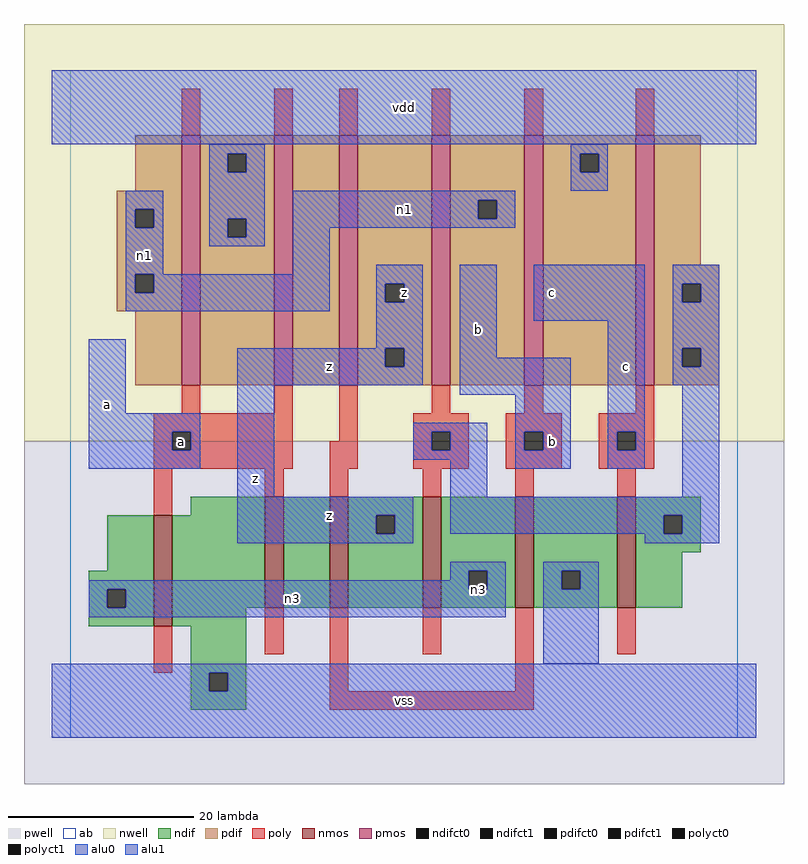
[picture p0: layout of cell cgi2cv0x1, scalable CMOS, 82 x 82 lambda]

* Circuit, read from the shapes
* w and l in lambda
.subckt cgi2cv0x1 a b c n1 n3 vdd vss z
M1 vss a n3 VSUBS nfet w=12 l=2
M2 n2 a vss VSUBS nfet w=12 l=2
M3 z b n2 VSUBS nfet w=12 l=2
M4 n3 n4 z VSUBS nfet w=12 l=2
M5 vss b n3 VSUBS nfet w=12 l=2
M6 n4 c vss VSUBS nfet w=12 l=2
M7 vdd a n1 n5 pfet w=27 l=2
M8 n6 a vdd n5 pfet w=27 l=2
M9 z b n6 n5 pfet w=27 l=2
M10 n1 n4 z n5 pfet w=27 l=2
M11 vdd b n1 n5 pfet w=27 l=2
M12 n4 c vdd n5 pfet w=27 l=2
.ends

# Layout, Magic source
magic
tech scmos
<< ab >>
rect 0 0 72 72
<< nwell >>
rect -5 32 77 77
<< pwell >>
rect -5 -5 77 32
<< poly >>
rect 12 65 14 70
rect 22 65 24 70
rect 29 65 31 70
rect 39 65 41 70
rect 49 65 51 70
rect 61 65 63 70
rect 12 35 14 38
rect 22 35 24 38
rect 9 33 24 35
rect 9 31 11 33
rect 13 31 24 33
rect 29 32 31 38
rect 39 35 41 38
rect 49 35 51 38
rect 61 35 63 38
rect 9 29 24 31
rect 28 29 31 32
rect 37 33 43 35
rect 37 31 39 33
rect 41 31 43 33
rect 37 29 43 31
rect 47 33 53 35
rect 47 31 49 33
rect 51 31 53 33
rect 47 29 53 31
rect 57 33 63 35
rect 57 31 59 33
rect 61 31 63 33
rect 57 29 63 31
rect 9 24 11 29
rect 21 26 23 29
rect 28 26 30 29
rect 38 26 40 29
rect 48 26 50 29
rect 59 26 61 29
rect 9 7 11 12
rect 21 9 23 14
rect 28 5 30 14
rect 38 9 40 14
rect 48 5 50 14
rect 59 9 61 14
rect 28 3 50 5
<< ndif >>
rect 13 24 21 26
rect 4 18 9 24
rect 2 16 9 18
rect 2 14 4 16
rect 6 14 9 16
rect 2 12 9 14
rect 11 14 21 24
rect 23 14 28 26
rect 30 24 38 26
rect 30 22 33 24
rect 35 22 38 24
rect 30 14 38 22
rect 40 18 48 26
rect 40 16 43 18
rect 45 16 48 18
rect 40 14 48 16
rect 50 18 59 26
rect 50 16 53 18
rect 55 16 59 18
rect 50 14 59 16
rect 61 24 68 26
rect 61 22 64 24
rect 66 22 68 24
rect 61 20 68 22
rect 61 14 66 20
rect 11 12 19 14
rect 13 7 19 12
rect 13 5 15 7
rect 17 5 19 7
rect 13 3 19 5
<< pdif >>
rect 7 59 12 65
rect 5 57 12 59
rect 5 55 7 57
rect 9 55 12 57
rect 5 50 12 55
rect 5 48 7 50
rect 9 48 12 50
rect 5 46 12 48
rect 7 38 12 46
rect 14 63 22 65
rect 14 61 17 63
rect 19 61 22 63
rect 14 56 22 61
rect 14 54 17 56
rect 19 54 22 56
rect 14 38 22 54
rect 24 38 29 65
rect 31 49 39 65
rect 31 47 34 49
rect 36 47 39 49
rect 31 42 39 47
rect 31 40 34 42
rect 36 40 39 42
rect 31 38 39 40
rect 41 58 49 65
rect 41 56 44 58
rect 46 56 49 58
rect 41 38 49 56
rect 51 63 61 65
rect 51 61 55 63
rect 57 61 61 63
rect 51 38 61 61
rect 63 51 68 65
rect 63 49 70 51
rect 63 47 66 49
rect 68 47 70 49
rect 63 42 70 47
rect 63 40 66 42
rect 68 40 70 42
rect 63 38 70 40
<< alu1 >>
rect -2 64 74 72
rect 33 49 38 51
rect 33 47 34 49
rect 36 47 38 49
rect 2 35 6 43
rect 33 42 38 47
rect 18 40 34 42
rect 36 40 38 42
rect 18 38 38 40
rect 42 41 46 51
rect 50 45 62 51
rect 2 33 14 35
rect 2 31 11 33
rect 13 31 14 33
rect 2 29 14 31
rect 18 26 22 38
rect 42 37 54 41
rect 48 33 54 37
rect 48 31 49 33
rect 51 31 54 33
rect 48 29 54 31
rect 58 33 62 45
rect 58 31 59 33
rect 61 31 62 33
rect 58 29 62 31
rect 18 24 37 26
rect 18 22 33 24
rect 35 22 37 24
rect 18 21 37 22
rect -2 7 74 8
rect -2 5 15 7
rect 17 5 74 7
rect -2 0 74 5
<< nmos >>
rect 9 12 11 24
rect 21 14 23 26
rect 28 14 30 26
rect 38 14 40 26
rect 48 14 50 26
rect 59 14 61 26
<< pmos >>
rect 12 38 14 65
rect 22 38 24 65
rect 29 38 31 65
rect 39 38 41 65
rect 49 38 51 65
rect 61 38 63 65
<< polyct0 >>
rect 39 31 41 33
<< polyct1 >>
rect 11 31 13 33
rect 49 31 51 33
rect 59 31 61 33
<< ndifct0 >>
rect 4 14 6 16
rect 43 16 45 18
rect 53 16 55 18
rect 64 22 66 24
<< ndifct1 >>
rect 33 22 35 24
rect 15 5 17 7
<< pdifct0 >>
rect 7 55 9 57
rect 7 48 9 50
rect 17 61 19 63
rect 17 54 19 56
rect 44 56 46 58
rect 55 61 57 63
rect 66 47 68 49
rect 66 40 68 42
<< pdifct1 >>
rect 34 47 36 49
rect 34 40 36 42
<< alu0 >>
rect 15 63 21 64
rect 15 61 17 63
rect 19 61 21 63
rect 6 57 10 59
rect 6 55 7 57
rect 9 55 10 57
rect 6 50 10 55
rect 15 56 21 61
rect 54 63 58 64
rect 54 61 55 63
rect 57 61 58 63
rect 54 59 58 61
rect 15 54 17 56
rect 19 54 21 56
rect 15 53 21 54
rect 24 58 48 59
rect 24 56 44 58
rect 46 56 48 58
rect 24 55 48 56
rect 24 50 28 55
rect 6 48 7 50
rect 9 48 28 50
rect 6 46 28 48
rect 37 33 45 34
rect 37 31 39 33
rect 41 31 45 33
rect 37 30 45 31
rect 41 26 45 30
rect 65 49 70 51
rect 65 47 66 49
rect 68 47 70 49
rect 65 42 70 47
rect 65 40 66 42
rect 68 40 70 42
rect 65 38 70 40
rect 66 26 70 38
rect 41 24 70 26
rect 41 22 64 24
rect 66 22 70 24
rect 62 21 70 22
rect 41 18 47 19
rect 41 17 43 18
rect 2 16 43 17
rect 45 16 47 18
rect 2 14 4 16
rect 6 14 47 16
rect 2 13 47 14
rect 51 18 57 19
rect 51 16 53 18
rect 55 16 57 18
rect 51 8 57 16
<< labels >>
rlabel alu0 8 52 8 52 6 n1
rlabel alu0 24 15 24 15 6 n3
rlabel alu0 44 16 44 16 6 n3
rlabel alu0 36 57 36 57 6 n1
rlabel polyct1 12 32 12 32 6 a
rlabel alu1 4 36 4 36 6 a
rlabel alu1 20 28 20 28 6 z
rlabel alu1 28 24 28 24 6 z
rlabel alu1 28 40 28 40 6 z
rlabel alu1 36 4 36 4 6 vss
rlabel alu1 52 32 52 32 6 b
rlabel alu1 36 48 36 48 6 z
rlabel alu1 52 48 52 48 6 c
rlabel alu1 44 44 44 44 6 b
rlabel alu1 36 68 36 68 6 vdd
rlabel alu1 60 40 60 40 6 c
<< end >>
